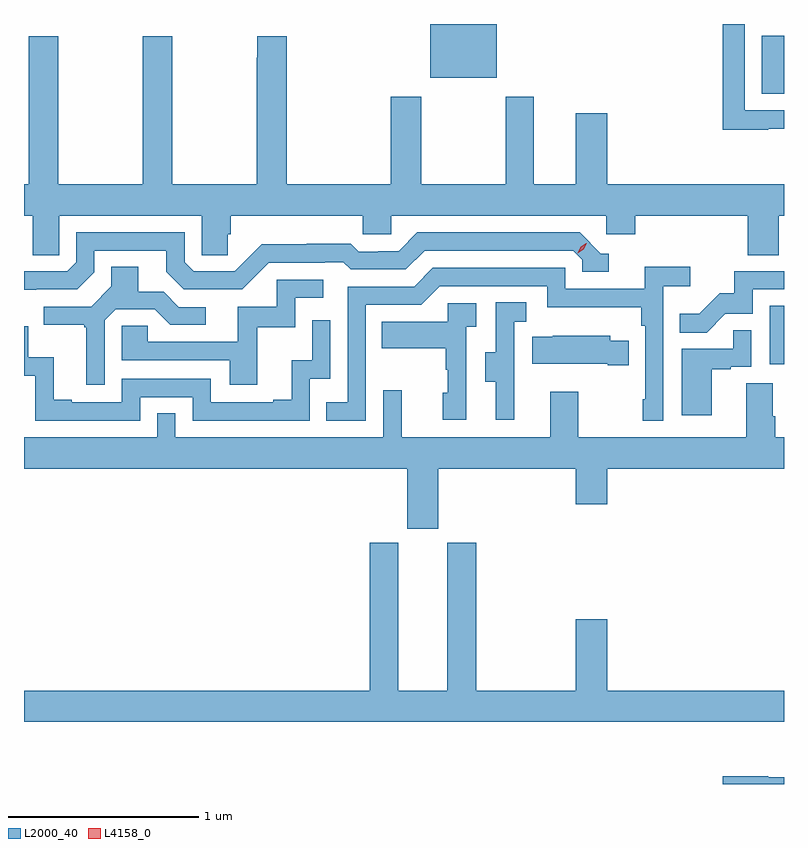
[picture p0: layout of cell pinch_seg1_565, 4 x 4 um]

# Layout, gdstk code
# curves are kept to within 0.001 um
import gdstk
lib = gdstk.Library(unit=1e-6, precision=1e-09)
def R(c, l, rs):  # rectangles x0, y0, x1, y1
    for r in rs: c.add(gdstk.rectangle(r[:2], r[2:], *l))
def P(c, l, *ps):  # polygons
    for p in ps: c.add(gdstk.Polygon(p, *l))
L2000_40 = (2000, 40)
L4158_0 = (4158, 0)

pinch_seg1_565 = lib.new_cell('pinch_seg1_565')
R(pinch_seg1_565, L2000_40, [(1029.164,518.982,1029.239,519.289), (1029.122,520.404,1029.239,520.711), (1027.376,520.49,1027.726,520.772)])
P(pinch_seg1_565, L2000_40, [(1029.155,520.221),(1029.239,520.221),(1029.239,520.317),(1029.033,520.317),(1029.033,520.772),(1028.917,520.772),(1028.917,520.216),(1029.155,520.216)],
  [(1025.424,519.764),(1026.174,519.764),(1026.174,519.556),(1026.311,519.556),(1026.311,519.666),(1026.326,519.666),(1026.326,519.764),(1027.023,519.764),(1027.023,519.666),(1027.173,519.666),(1027.173,519.764),(1028.304,519.764),(1028.304,519.666),(1028.456,519.666),(1028.456,519.764),(1029.047,519.764),(1029.047,519.556),(1029.212,519.556),(1029.212,519.764),(1029.239,519.764),(1029.239,519.928),(1028.308,519.928),(1028.308,520.303),(1028.144,520.303),(1028.144,519.928),(1027.921,519.928),(1027.921,520.39),(1027.774,520.39),(1027.774,519.928),(1027.329,519.928),(1027.329,520.39),(1027.169,520.39),(1027.169,519.928),(1026.623,519.928),(1026.623,520.708),(1026.467,520.708),(1026.467,520.595),(1026.463,520.595),(1026.463,519.928),(1026.018,519.928),(1026.018,520.708),(1025.863,520.708),(1025.863,519.928),(1025.418,519.928),(1025.418,520.708),(1025.263,520.708),(1025.263,519.928),(1025.239,519.928),(1025.239,519.764),(1025.285,519.764),(1025.285,519.556),(1025.424,519.556)],
  [(1025.304,519.375),(1025.52,519.375),(1025.61,519.465),(1025.61,519.579),(1025.987,519.579),(1025.987,519.469),(1026.081,519.375),(1026.387,519.375),(1026.528,519.516),(1026.821,519.516),(1026.821,519.519),(1026.92,519.519),(1026.959,519.48),(1027.248,519.48),(1027.347,519.579),(1028.13,519.579),(1028.178,519.531),(1028.178,519.468),(1028.317,519.468),(1028.317,519.564),(1028.274,519.564),(1028.163,519.675),(1027.31,519.675),(1027.211,519.576),(1027.104,519.576),(1027.104,519.573),(1027.001,519.573),(1026.959,519.616),(1026.726,519.616),(1026.726,519.613),(1026.49,519.613),(1026.348,519.471),(1026.132,519.471),(1026.084,519.519),(1026.084,519.675),(1025.514,519.675),(1025.514,519.519),(1025.466,519.471),(1025.239,519.471),(1025.239,519.374)],
  [(1027.038,519.294),(1027.329,519.294),(1027.428,519.393),(1027.992,519.393),(1027.992,519.281),(1028.488,519.281),(1028.488,519.185),(1028.508,519.185),(1028.508,518.797),(1028.496,518.797),(1028.496,518.685),(1028.604,518.685),(1028.604,519.392),(1028.746,519.392),(1028.746,519.494),(1028.507,519.494),(1028.507,519.378),(1028.088,519.378),(1028.088,519.489),(1027.391,519.489),(1027.292,519.39),(1026.942,519.39),(1026.942,518.781),(1026.829,518.781),(1026.829,518.685),(1027.038,518.685)],
  [(1025.664,519.213),(1025.721,519.27),(1025.927,519.27),(1026.008,519.189),(1026.196,519.189),(1026.196,519.282),(1026.054,519.282),(1025.974,519.362),(1025.839,519.362),(1025.839,519.494),(1025.699,519.494),(1025.699,519.392),(1025.592,519.285),(1025.343,519.285),(1025.343,519.188),(1025.555,519.188),(1025.555,519.177),(1025.567,519.177),(1025.567,518.874),(1025.664,518.874)],
  [(1028.931,519.246),(1029.075,519.246),(1029.075,519.375),(1029.239,519.375),(1029.239,519.471),(1028.977,519.471),(1028.977,519.354),(1028.9,519.354),(1028.793,519.247),(1028.689,519.247),(1028.689,519.148),(1028.833,519.148)],
  [(1026.467,519.177),(1026.666,519.177),(1026.666,519.33),(1026.814,519.33),(1026.814,519.426),(1026.57,519.426),(1026.57,519.285),(1026.365,519.285),(1026.365,519.099),(1025.891,519.099),(1025.891,519.183),(1025.754,519.183),(1025.754,519.003),(1026.323,519.003),(1026.323,518.874),(1026.467,518.874)],
  [(1027.82,518.901),(1027.818,518.901),(1027.818,519.205),(1027.882,519.205),(1027.882,519.308),(1027.722,519.308),(1027.722,519.045),(1027.667,519.045),(1027.667,518.89),(1027.721,518.89),(1027.721,518.688),(1027.82,518.688)],
  [(1027.566,519.179),(1027.618,519.179),(1027.618,519.303),(1027.47,519.303),(1027.47,519.205),(1027.123,519.205),(1027.123,519.065),(1027.458,519.065),(1027.458,518.951),(1027.468,518.951),(1027.468,518.832),(1027.442,518.832),(1027.442,518.688),(1027.566,518.688)],
  [(1025.85,518.808),(1026.126,518.808),(1026.126,518.685),(1026.744,518.685),(1026.744,518.904),(1026.852,518.904),(1026.852,519.214),(1026.756,519.214),(1026.756,519.002),(1026.647,519.002),(1026.647,518.794),(1026.551,518.794),(1026.551,518.781),(1026.222,518.781),(1026.222,518.904),(1025.754,518.904),(1025.754,518.781),(1025.491,518.781),(1025.491,518.794),(1025.395,518.794),(1025.395,519.019),(1025.262,519.019),(1025.262,519.18),(1025.239,519.18),(1025.239,518.921),(1025.298,518.921),(1025.298,518.685),(1025.85,518.685)],
  [(1028.86,518.955),(1028.96,518.955),(1028.96,518.967),(1029.066,518.967),(1029.066,519.161),(1028.971,519.161),(1028.971,519.063),(1028.702,519.063),(1028.702,518.712),(1028.86,518.712)],
  [(1028.423,519.106),(1028.325,519.106),(1028.325,519.13),(1028.023,519.13),(1028.023,519.127),(1027.915,519.127),(1027.915,518.984),(1028.312,518.984),(1028.312,518.977),(1028.423,518.977)],
  [(1027.42,518.432),(1028.144,518.432),(1028.144,518.244),(1028.308,518.244),(1028.308,518.432),(1029.239,518.432),(1029.239,518.596),(1029.194,518.596),(1029.194,518.708),(1029.181,518.708),(1029.181,518.882),(1029.041,518.882),(1029.041,518.596),(1028.157,518.596),(1028.157,518.836),(1028.009,518.836),(1028.009,518.596),(1027.228,518.596),(1027.228,518.845),(1027.131,518.845),(1027.131,518.596),(1026.036,518.596),(1026.036,518.723),(1025.94,518.723),(1025.94,518.596),(1025.239,518.596),(1025.239,518.432),(1027.256,518.432),(1027.256,518.115),(1027.42,518.115)],
  [(1029.239,517.264),(1028.308,517.264),(1028.308,517.639),(1028.144,517.639),(1028.144,517.264),(1027.619,517.264),(1027.619,518.043),(1027.466,518.043),(1027.466,517.264),(1027.21,517.264),(1027.21,518.043),(1027.058,518.043),(1027.058,517.264),(1025.239,517.264),(1025.239,517.1),(1029.239,517.1)],
  [(1029.239,516.807),(1029.155,516.807),(1029.155,516.812),(1028.917,516.812),(1028.917,516.772),(1029.239,516.772)])
P(pinch_seg1_565, L4158_0, [(1028.153,519.566),(1028.153,519.567),(1028.169,519.599),(1028.199,519.618),(1028.2,519.618),(1028.2,519.618),(1028.184,519.586),(1028.153,519.566)])

lib.write_gds('pinch_seg1_565.gds')
